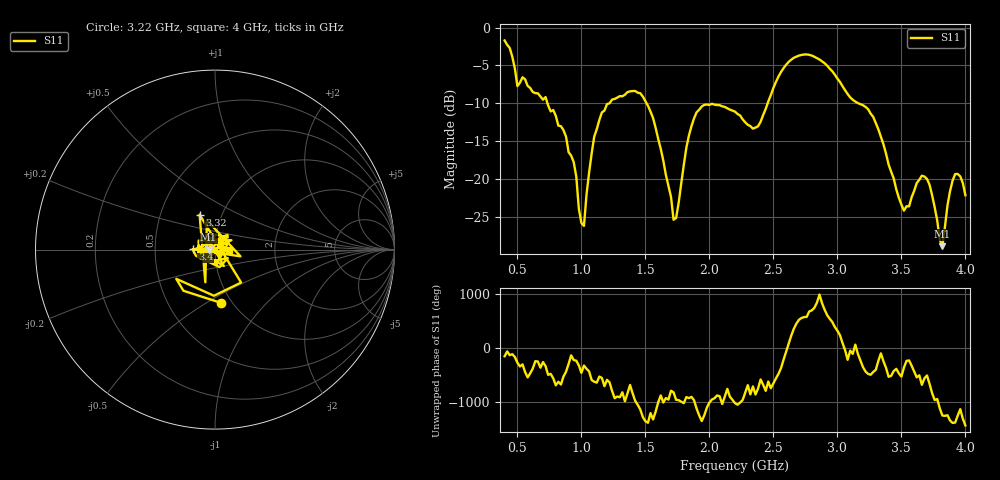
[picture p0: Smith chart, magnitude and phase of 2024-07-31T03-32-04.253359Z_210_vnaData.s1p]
!Created with skrf (http://scikit-rf.org).
# Hz S RI R 50.0
!freq ReS11 ImS11
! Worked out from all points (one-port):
!   181 points, 400 MHz to 4 GHz, reference 50 ohm
!   lowest |S11| = -28.9 dB at 3.82 GHz (marker M1), VSWR 1.07, Z = 46.5 - j0.0385 ohm
!   |S11| at or under -10 dB: 734.8 MHz to 1.219 GHz (484.2 MHz wide, 49.6 % of centre); 1.51 GHz to 2.455 GHz (945.5 MHz wide, 47.7 % of centre); 3.164 GHz to end of sweep
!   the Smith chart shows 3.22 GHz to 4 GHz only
!   S11 on the Smith chart (normalised r, x): 3.22 GHz: 0.89, -0.58; 3.32 GHz: 0.78, +0.32; 3.4 GHz: 0.78, +0.00; 4 GHz: 1.17, -0.01
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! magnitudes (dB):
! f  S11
! 400 MHz  -1.7
! 500 MHz  -7.7
! 720 MHz  -9.2
! 860 MHz  -13.5
! 940 MHz  -17.8
! 980 MHz  -23.9
! 1.02 GHz  -26.2
! 1.1 GHz  -14.4
! 1.3 GHz  -9.1
! 1.52 GHz  -10.3
! 1.72 GHz  -25.4
! 1.76 GHz  -23.1
! 1.82 GHz  -15.9
! 1.9 GHz  -11.2
! 2.2 GHz  -11.1
! 2.38 GHz  -13.0
! 2.66 GHz  -4.0
! 2.86 GHz  -4.2
! 3.1 GHz  -9.2
! 3.22 GHz  -10.5
! 3.32 GHz  -13.4
! 3.4 GHz  -18.1
! 3.52 GHz  -24.2
! 3.56 GHz  -23.6
! 3.7 GHz  -20.0
! 3.82 GHz  -28.9
! 3.92 GHz  -19.3
! 4 GHz  -22.1
